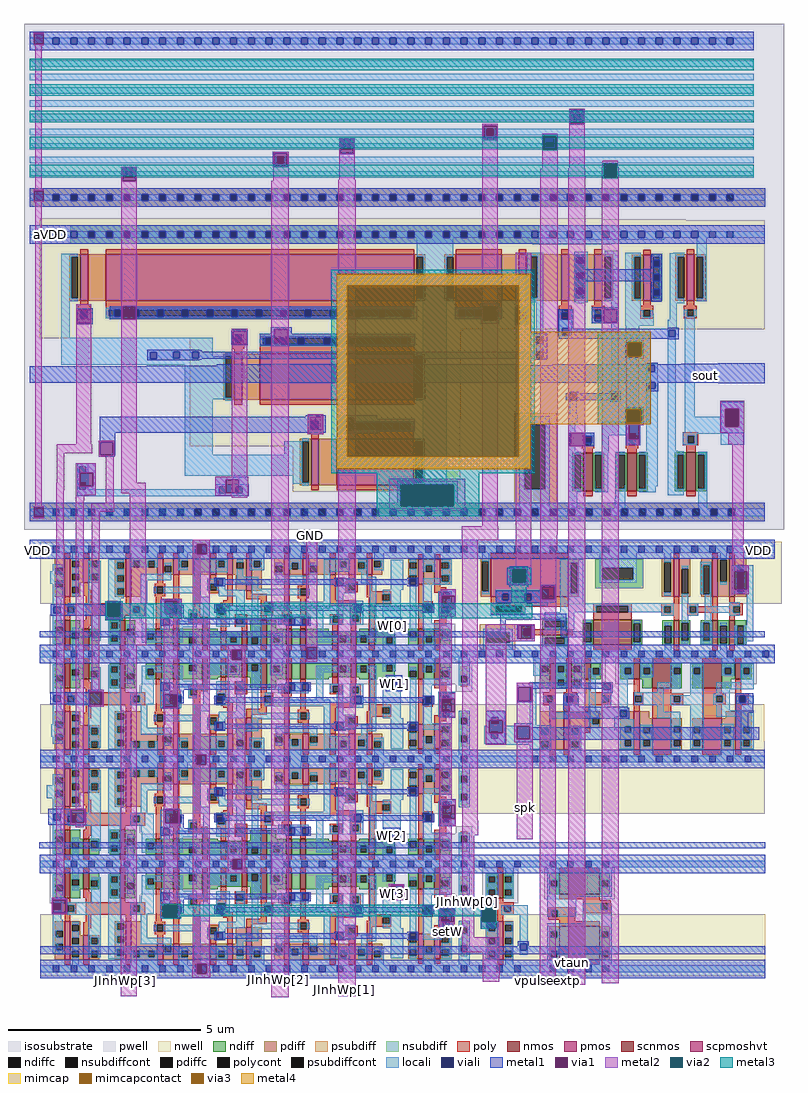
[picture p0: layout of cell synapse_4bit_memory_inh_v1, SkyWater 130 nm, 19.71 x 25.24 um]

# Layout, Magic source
magic
tech sky130A
magscale 1 2
<< isosubstrate >>
rect 2566 9589 6508 12213
<< nwell >>
rect 2648 10582 2826 11204
rect 6163 10629 6408 11194
rect 4832 9204 5600 9527
rect 6362 9205 6408 9526
rect 4841 8683 5561 8684
rect 2772 8519 2795 8581
rect 4841 8489 6313 8683
rect 4841 8117 6407 8489
rect 3461 7334 3513 7339
rect 3485 7287 3513 7291
rect 4841 7274 6411 7595
rect 6138 7272 6411 7274
<< psubdiff >>
rect 2648 11264 2690 11360
rect 6262 11264 6410 11360
rect 2648 9632 2688 9728
rect 6262 9632 6408 9728
<< locali >>
rect 2648 11295 2696 11330
rect 6190 11295 6410 11329
rect 2648 11131 2700 11137
rect 2648 11106 2744 11131
rect 2648 11103 2700 11106
rect 6261 11103 6408 11137
rect 6181 10218 6303 10257
rect 6181 10174 6204 10218
rect 6007 10123 6204 10174
rect 6273 10123 6303 10218
rect 6007 10088 6303 10123
rect 6181 10031 6303 10088
rect 2835 9916 2900 9934
rect 2835 9882 2853 9916
rect 2887 9882 2900 9916
rect 2835 9833 2900 9882
rect 2835 9799 2853 9833
rect 2887 9800 2900 9833
rect 3561 9812 3731 9825
rect 2887 9799 3035 9800
rect 2835 9798 3035 9799
rect 3561 9798 3580 9812
rect 2835 9778 3580 9798
rect 3614 9778 3663 9812
rect 3697 9798 3731 9812
rect 3697 9778 3732 9798
rect 2835 9764 3732 9778
rect 6063 9701 6111 9785
rect 2638 9697 6408 9701
rect 2595 9663 2632 9697
rect 2666 9663 6127 9697
rect 6161 9663 6408 9697
rect 2638 9659 6408 9663
rect 2596 9471 6408 9505
rect 2703 9309 2769 9375
rect 5014 9257 5283 9279
rect 5014 9223 5046 9257
rect 5080 9256 5283 9257
rect 5080 9223 5164 9256
rect 5014 9222 5164 9223
rect 5198 9222 5283 9256
rect 4737 9193 4803 9205
rect 5014 9196 5283 9222
rect 5014 9195 5167 9196
rect 4770 9159 4803 9193
rect 5048 9194 5167 9195
rect 5048 9178 5114 9194
rect 5148 9178 5167 9194
rect 4737 9139 4803 9159
rect 4445 9113 4503 9132
rect 4445 9079 4464 9113
rect 4498 9079 4503 9113
rect 4445 9074 4503 9079
rect 5465 8961 5509 8962
rect 2648 8927 4987 8961
rect 5171 8927 6408 8961
rect 4447 8809 4505 8814
rect 4447 8775 4469 8809
rect 4503 8775 4505 8809
rect 4447 8756 4505 8775
rect 5566 8792 5611 8799
rect 5566 8758 5574 8792
rect 5608 8758 5611 8792
rect 4737 8729 4803 8749
rect 4771 8695 4803 8729
rect 4737 8683 4803 8695
rect 5366 8729 5439 8731
rect 5366 8695 5382 8729
rect 5416 8695 5439 8729
rect 5366 8679 5439 8695
rect 5566 8679 5611 8758
rect 6334 8690 6348 8724
rect 4960 8616 5061 8650
rect 4960 8582 4992 8616
rect 5026 8582 5061 8616
rect 2708 8515 2774 8581
rect 4960 8572 5061 8582
rect 5627 8620 5658 8622
rect 5692 8620 5694 8622
rect 5627 8598 5694 8620
rect 4954 8541 5294 8572
rect 5627 8550 5693 8598
rect 4954 8507 4989 8541
rect 5023 8507 5294 8541
rect 4954 8478 5294 8507
rect 5035 8475 5259 8478
rect 2649 8383 6407 8417
rect 2684 8197 2750 8263
rect 4737 8106 4803 8117
rect 4771 8072 4803 8106
rect 4737 8051 4803 8072
rect 4444 8022 4502 8042
rect 4444 7988 4454 8022
rect 4488 7988 4502 8022
rect 4444 7984 4502 7988
rect 2648 7839 6411 7873
rect 4450 7722 4508 7727
rect 4450 7688 4477 7722
rect 4450 7669 4508 7688
rect 4736 7641 4802 7661
rect 4736 7607 4737 7641
rect 4771 7607 4802 7641
rect 4736 7595 4802 7607
rect 5042 7593 5178 7641
rect 5135 7592 5178 7593
rect 2717 7423 2743 7489
rect 5137 7442 5178 7592
rect 5137 7408 5140 7442
rect 5174 7408 5178 7442
rect 5137 7386 5178 7408
rect 2649 7295 6411 7329
<< viali >>
rect 6204 10123 6273 10218
rect 2853 9882 2887 9916
rect 2853 9799 2887 9833
rect 3580 9778 3614 9812
rect 3663 9778 3697 9812
rect 6127 9663 6161 9697
rect 6265 9348 6299 9382
rect 4739 9232 4773 9266
rect 6265 9268 6299 9302
rect 5046 9223 5080 9257
rect 5164 9222 5198 9256
rect 2720 9155 2754 9189
rect 4736 9159 4770 9193
rect 4464 9079 4498 9113
rect 5162 9041 5196 9075
rect 4469 8775 4503 8809
rect 5574 8758 5608 8792
rect 2720 8698 2754 8732
rect 4737 8695 4771 8729
rect 5382 8695 5416 8729
rect 6275 8694 6309 8728
rect 4739 8621 4773 8655
rect 4992 8582 5026 8616
rect 5658 8620 5692 8654
rect 4989 8507 5023 8541
rect 4739 8145 4773 8179
rect 2721 8083 2755 8117
rect 4737 8072 4771 8106
rect 4454 7988 4488 8022
rect 4477 7688 4511 7722
rect 2720 7619 2754 7653
rect 4737 7607 4771 7641
rect 4967 7602 5001 7636
rect 4739 7533 4773 7567
rect 4970 7526 5004 7560
rect 5140 7408 5174 7442
<< metal1 >>
rect 2610 12108 2616 12160
rect 2668 12108 2674 12160
rect 2648 11348 2688 11360
rect 2610 11296 2616 11348
rect 2668 11296 2688 11348
rect 2648 11264 2688 11296
rect 6262 11264 6410 11360
rect 2648 11072 2712 11169
rect 6257 11072 6408 11168
rect 6166 10451 6408 10452
rect 2648 10352 2711 10438
rect 5974 10351 6408 10451
rect 6166 10350 6408 10351
rect 6179 10218 6303 10254
rect 2958 10093 4080 10176
rect 6179 10123 6204 10218
rect 6273 10123 6303 10218
rect 2958 10052 3040 10093
rect 6179 10090 6303 10123
rect 2955 10043 3040 10052
rect 2955 9975 2962 10043
rect 3030 9975 3040 10043
rect 2955 9974 3040 9975
rect 2955 9968 3037 9974
rect 2841 9916 2938 9934
rect 2841 9882 2853 9916
rect 2887 9884 2938 9916
rect 2841 9833 2856 9882
rect 2841 9799 2853 9833
rect 2924 9816 2938 9884
rect 2887 9799 2938 9816
rect 2841 9768 2938 9799
rect 3559 9849 3728 9863
rect 3559 9812 3612 9849
rect 3680 9825 3728 9849
rect 3680 9812 3731 9825
rect 3559 9778 3580 9812
rect 3614 9778 3663 9781
rect 3697 9778 3731 9812
rect 2841 9766 2900 9768
rect 3559 9766 3731 9778
rect 2648 9712 2688 9728
rect 2599 9706 3437 9712
rect 2599 9654 2616 9706
rect 2668 9654 3437 9706
rect 4023 9654 4094 9713
rect 2626 9651 2688 9654
rect 2648 9632 2688 9651
rect 6272 9632 6408 9728
rect 2649 9513 6408 9536
rect 2649 9461 3462 9513
rect 3514 9461 6408 9513
rect 2649 9440 6408 9461
rect 5085 9302 5178 9401
rect 6237 9382 6325 9406
rect 6237 9373 6265 9382
rect 6299 9373 6325 9382
rect 5247 9297 5326 9304
rect 4727 9266 4805 9280
rect 5247 9274 5252 9297
rect 4727 9247 4739 9266
rect 4773 9247 4805 9266
rect 3276 9222 3384 9230
rect 2989 9207 3071 9215
rect 2989 9203 2997 9207
rect 2705 9189 2997 9203
rect 2705 9155 2720 9189
rect 2754 9155 2997 9189
rect 2705 9142 2997 9155
rect 2989 9139 2997 9142
rect 3065 9139 3071 9207
rect 2989 9131 3071 9139
rect 3276 9154 3295 9222
rect 3363 9154 3384 9222
rect 3276 9124 3384 9154
rect 4727 9179 4732 9247
rect 4800 9179 4805 9247
rect 5014 9257 5252 9274
rect 5014 9223 5046 9257
rect 5080 9256 5252 9257
rect 5080 9223 5164 9256
rect 5015 9222 5164 9223
rect 5198 9229 5252 9256
rect 5320 9229 5326 9297
rect 6237 9278 6249 9373
rect 6318 9278 6325 9373
rect 6237 9268 6265 9278
rect 6299 9268 6325 9278
rect 6237 9254 6325 9268
rect 5198 9223 5326 9229
rect 5198 9222 5325 9223
rect 5015 9211 5325 9222
rect 4727 9159 4736 9179
rect 4770 9159 4805 9179
rect 4727 9139 4805 9159
rect 4437 9113 4529 9136
rect 4437 9079 4464 9113
rect 4498 9079 4529 9113
rect 4437 9062 4529 9079
rect 5037 9123 5379 9153
rect 5037 9062 5066 9123
rect 2647 9032 5066 9062
rect 5123 9025 5130 9093
rect 5198 9025 5216 9093
rect 5350 9062 5379 9123
rect 5350 9032 6408 9062
rect 5123 9023 5216 9025
rect 5123 9021 5205 9023
rect 2648 8980 6408 8992
rect 2648 8968 4029 8980
rect 2648 8916 3643 8968
rect 3695 8921 4029 8968
rect 4088 8921 6408 8980
rect 3695 8916 6408 8921
rect 2648 8896 6408 8916
rect 4443 8809 4529 8834
rect 4443 8775 4469 8809
rect 4503 8775 4529 8809
rect 5566 8795 5620 8799
rect 2898 8749 2980 8758
rect 2898 8746 2905 8749
rect 2702 8732 2905 8746
rect 2702 8698 2720 8732
rect 2754 8698 2905 8732
rect 2702 8683 2905 8698
rect 2898 8681 2905 8683
rect 2973 8681 2980 8749
rect 2898 8671 2980 8681
rect 3285 8736 3371 8753
rect 4443 8751 4529 8775
rect 5122 8792 5620 8795
rect 5122 8771 5574 8792
rect 5122 8764 5129 8771
rect 3285 8668 3293 8736
rect 3361 8668 3371 8736
rect 3285 8661 3371 8668
rect 4723 8729 4804 8744
rect 4723 8713 4737 8729
rect 4771 8713 4804 8729
rect 5123 8727 5129 8764
rect 4723 8645 4734 8713
rect 4802 8645 4804 8713
rect 5124 8703 5129 8727
rect 5197 8767 5574 8771
rect 5197 8764 5339 8767
rect 5467 8764 5574 8767
rect 5197 8727 5206 8764
rect 5562 8758 5574 8764
rect 5608 8758 5620 8792
rect 5562 8742 5620 8758
rect 6263 8740 6348 8741
rect 5368 8734 5438 8739
rect 5363 8729 5439 8734
rect 5197 8703 5202 8727
rect 5124 8695 5202 8703
rect 5362 8695 5382 8729
rect 5416 8695 5443 8729
rect 5362 8672 5443 8695
rect 6259 8728 6348 8740
rect 6259 8694 6275 8728
rect 6309 8694 6348 8728
rect 5362 8667 5694 8672
rect 5362 8654 5706 8667
rect 5362 8652 5658 8654
rect 4723 8621 4739 8645
rect 4773 8621 4804 8645
rect 4723 8615 4804 8621
rect 4960 8616 5061 8650
rect 4960 8601 4992 8616
rect 5026 8601 5061 8616
rect 5366 8620 5658 8652
rect 5692 8620 5706 8654
rect 5366 8609 5706 8620
rect 5653 8608 5706 8609
rect 6259 8641 6348 8694
rect 4960 8533 4980 8601
rect 5048 8533 5061 8601
rect 4960 8507 4989 8533
rect 5023 8507 5061 8533
rect 4960 8479 5061 8507
rect 5109 8571 5204 8585
rect 5109 8503 5121 8571
rect 5189 8565 5204 8571
rect 6259 8565 6322 8641
rect 5189 8503 6380 8565
rect 5109 8500 6380 8503
rect 5109 8486 5204 8500
rect 2649 8423 6408 8448
rect 2649 8371 3460 8423
rect 3512 8371 6408 8423
rect 2649 8352 6408 8371
rect 4867 8351 5231 8352
rect 4725 8179 4806 8191
rect 4725 8159 4739 8179
rect 4773 8159 4806 8179
rect 2806 8142 2885 8143
rect 2692 8137 2885 8142
rect 2692 8117 2811 8137
rect 2692 8083 2721 8117
rect 2755 8083 2811 8117
rect 2692 8069 2811 8083
rect 2879 8069 2885 8137
rect 2692 8061 2885 8069
rect 3288 8134 3374 8142
rect 3288 8066 3298 8134
rect 3366 8066 3374 8134
rect 3288 8065 3374 8066
rect 4725 8091 4735 8159
rect 4803 8091 4806 8159
rect 4725 8072 4737 8091
rect 4771 8072 4806 8091
rect 2692 8060 2884 8061
rect 3288 8047 3346 8065
rect 4725 8050 4806 8072
rect 3276 8037 3346 8047
rect 3276 8036 3336 8037
rect 4430 8022 4517 8044
rect 4430 7988 4454 8022
rect 4488 7988 4517 8022
rect 4430 7967 4517 7988
rect 2644 7937 6412 7967
rect 2648 7903 6408 7904
rect 2648 7881 6411 7903
rect 2648 7829 3646 7881
rect 3698 7829 6411 7881
rect 2648 7808 6411 7829
rect 5128 7807 6411 7808
rect 4457 7743 4539 7750
rect 2711 7679 2781 7680
rect 2711 7671 2790 7679
rect 2711 7603 2716 7671
rect 2784 7603 2790 7671
rect 2711 7594 2790 7603
rect 3282 7651 3340 7685
rect 4457 7675 4466 7743
rect 4534 7675 4539 7743
rect 4457 7668 4539 7675
rect 4726 7655 4793 7660
rect 3282 7645 3375 7651
rect 3282 7577 3292 7645
rect 3360 7577 3375 7645
rect 3282 7572 3375 7577
rect 4726 7641 4801 7655
rect 4726 7625 4737 7641
rect 4771 7625 4801 7641
rect 4726 7572 4730 7625
rect 4719 7557 4730 7572
rect 4798 7557 4801 7625
rect 4719 7533 4739 7557
rect 4773 7542 4801 7557
rect 4936 7636 5016 7651
rect 4936 7625 4967 7636
rect 5001 7625 5016 7636
rect 4936 7557 4942 7625
rect 5010 7557 5016 7625
rect 4773 7533 4793 7542
rect 4719 7523 4785 7533
rect 4936 7526 4970 7557
rect 5004 7526 5016 7557
rect 4936 7520 5016 7526
rect 4955 7519 5016 7520
rect 5127 7442 5183 7455
rect 5127 7429 5140 7442
rect 2649 7408 5140 7429
rect 5174 7429 5183 7442
rect 5174 7408 6411 7429
rect 2649 7388 6411 7408
rect 2649 7359 3461 7360
rect 3489 7359 6411 7360
rect 2649 7339 6411 7359
rect 2649 7287 3461 7339
rect 3513 7287 6411 7339
rect 2649 7264 6411 7287
<< via1 >>
rect 2616 12108 2668 12160
rect 2616 11296 2668 11348
rect 6204 10123 6273 10218
rect 2962 9975 3030 10043
rect 2856 9882 2887 9884
rect 2887 9882 2924 9884
rect 2856 9833 2924 9882
rect 2856 9816 2887 9833
rect 2887 9816 2924 9833
rect 3612 9812 3680 9849
rect 3612 9781 3614 9812
rect 3614 9781 3663 9812
rect 3663 9781 3680 9812
rect 2616 9654 2668 9706
rect 3462 9461 3514 9513
rect 2997 9139 3065 9207
rect 3295 9154 3363 9222
rect 4732 9232 4739 9247
rect 4739 9232 4773 9247
rect 4773 9232 4800 9247
rect 4732 9193 4800 9232
rect 4732 9179 4736 9193
rect 4736 9179 4770 9193
rect 4770 9179 4800 9193
rect 5252 9229 5320 9297
rect 6249 9348 6265 9373
rect 6265 9348 6299 9373
rect 6299 9348 6318 9373
rect 6249 9302 6318 9348
rect 6249 9278 6265 9302
rect 6265 9278 6299 9302
rect 6299 9278 6318 9302
rect 5130 9075 5198 9093
rect 5130 9041 5162 9075
rect 5162 9041 5196 9075
rect 5196 9041 5198 9075
rect 5130 9025 5198 9041
rect 3643 8916 3695 8968
rect 4029 8921 4088 8980
rect 2905 8681 2973 8749
rect 3293 8668 3361 8736
rect 4734 8695 4737 8713
rect 4737 8695 4771 8713
rect 4771 8695 4802 8713
rect 4734 8655 4802 8695
rect 4734 8645 4739 8655
rect 4739 8645 4773 8655
rect 4773 8645 4802 8655
rect 5129 8703 5197 8771
rect 4980 8582 4992 8601
rect 4992 8582 5026 8601
rect 5026 8582 5048 8601
rect 4980 8541 5048 8582
rect 4980 8533 4989 8541
rect 4989 8533 5023 8541
rect 5023 8533 5048 8541
rect 5121 8503 5189 8571
rect 3460 8371 3512 8423
rect 2811 8069 2879 8137
rect 3298 8066 3366 8134
rect 4735 8145 4739 8159
rect 4739 8145 4773 8159
rect 4773 8145 4803 8159
rect 4735 8106 4803 8145
rect 4735 8091 4737 8106
rect 4737 8091 4771 8106
rect 4771 8091 4803 8106
rect 3646 7829 3698 7881
rect 2716 7653 2784 7671
rect 2716 7619 2720 7653
rect 2720 7619 2754 7653
rect 2754 7619 2784 7653
rect 2716 7603 2784 7619
rect 4466 7722 4534 7743
rect 4466 7688 4477 7722
rect 4477 7688 4511 7722
rect 4511 7688 4534 7722
rect 4466 7675 4534 7688
rect 3292 7577 3360 7645
rect 4730 7607 4737 7625
rect 4737 7607 4771 7625
rect 4771 7607 4798 7625
rect 4730 7567 4798 7607
rect 4730 7557 4739 7567
rect 4739 7557 4773 7567
rect 4773 7557 4798 7567
rect 4942 7602 4967 7625
rect 4967 7602 5001 7625
rect 5001 7602 5010 7625
rect 4942 7560 5010 7602
rect 4942 7557 4970 7560
rect 4970 7557 5004 7560
rect 5004 7557 5010 7560
rect 3461 7287 3513 7339
<< metal2 >>
rect 2616 12160 2668 12166
rect 2616 12102 2668 12108
rect 2625 11354 2659 12102
rect 2616 11348 2668 11354
rect 2616 11290 2668 11296
rect 2625 9712 2659 11290
rect 2955 10043 3037 10052
rect 2738 10030 2921 10032
rect 2735 9986 2921 10030
rect 2735 9832 2775 9986
rect 2955 9975 2962 10043
rect 3030 9975 3037 10043
rect 2955 9968 3037 9975
rect 2734 9795 2775 9832
rect 2835 9884 2938 9934
rect 2989 9904 3032 9968
rect 2835 9816 2856 9884
rect 2924 9816 2938 9884
rect 2616 9706 2668 9712
rect 2616 9648 2668 9654
rect 2734 9515 2773 9795
rect 2835 9768 2938 9816
rect 2835 9739 2878 9768
rect 2835 9620 2875 9739
rect 2991 9727 3032 9904
rect 3559 9849 3728 9863
rect 3070 9779 3198 9834
rect 2916 9682 3034 9727
rect 2734 7680 2774 9515
rect 2835 9440 2876 9620
rect 2917 9481 2958 9682
rect 2835 8143 2875 9440
rect 2917 8758 2957 9481
rect 3114 9410 3198 9779
rect 3559 9781 3612 9849
rect 3680 9781 3728 9849
rect 3559 9766 3728 9781
rect 3440 9513 3530 9536
rect 3440 9461 3462 9513
rect 3514 9461 3530 9513
rect 3114 9385 3199 9410
rect 3000 9219 3049 9220
rect 2987 9208 3077 9219
rect 2987 9207 2998 9208
rect 2987 9139 2997 9207
rect 3066 9140 3077 9208
rect 3065 9139 3077 9140
rect 2987 9126 3077 9139
rect 3115 9059 3199 9385
rect 3276 9222 3384 9230
rect 3276 9154 3295 9222
rect 3363 9154 3384 9222
rect 3276 9124 3384 9154
rect 3069 8990 3199 9059
rect 2904 8749 2980 8758
rect 2904 8681 2905 8749
rect 2973 8681 2980 8749
rect 2904 8671 2980 8681
rect 2806 8137 2885 8143
rect 2806 8069 2811 8137
rect 2879 8069 2885 8137
rect 2806 8061 2885 8069
rect 2806 8060 2884 8061
rect 2835 8047 2875 8060
rect 2711 7679 2781 7680
rect 2711 7671 2790 7679
rect 2711 7603 2716 7671
rect 2784 7603 2790 7671
rect 2711 7594 2790 7603
rect 3069 7169 3151 8990
rect 3290 8736 3363 9124
rect 3290 8668 3293 8736
rect 3361 8668 3363 8736
rect 3290 8141 3363 8668
rect 3440 8423 3530 9461
rect 3440 8371 3460 8423
rect 3512 8371 3530 8423
rect 3288 8134 3374 8141
rect 3288 8066 3298 8134
rect 3366 8066 3374 8134
rect 3288 8055 3374 8066
rect 3290 7651 3363 8055
rect 3282 7645 3375 7651
rect 3282 7577 3292 7645
rect 3360 7577 3375 7645
rect 3282 7572 3375 7577
rect 3440 7339 3530 8371
rect 3623 8968 3714 8990
rect 3623 8916 3643 8968
rect 3695 8916 3714 8968
rect 3623 7881 3714 8916
rect 3623 7829 3646 7881
rect 3698 7829 3714 7881
rect 3623 7808 3714 7829
rect 3440 7310 3461 7339
rect 3439 7287 3461 7310
rect 3513 7310 3530 7339
rect 3513 7287 3532 7310
rect 3439 7265 3532 7287
rect 3849 7165 3938 11400
rect 4029 8980 4088 9585
rect 4029 8905 4088 8921
rect 4197 7169 4286 11404
rect 4836 9534 5025 9608
rect 4727 9268 4805 9280
rect 4719 9247 4805 9268
rect 4719 9179 4732 9247
rect 4800 9179 4805 9247
rect 4719 9139 4805 9179
rect 4719 8742 4785 9139
rect 4719 8713 4804 8742
rect 4719 8645 4734 8713
rect 4802 8645 4804 8713
rect 4719 8617 4804 8645
rect 4719 8188 4785 8617
rect 4719 8159 4806 8188
rect 4719 8091 4735 8159
rect 4803 8091 4806 8159
rect 4719 8052 4806 8091
rect 4838 8080 4920 9534
rect 5117 9392 5197 9577
rect 5245 9481 5331 11461
rect 5244 9480 5331 9481
rect 5073 9385 5198 9392
rect 5073 9317 5100 9385
rect 5168 9317 5198 9385
rect 5073 9303 5198 9317
rect 5244 9297 5326 9480
rect 5244 9279 5252 9297
rect 5243 9229 5252 9279
rect 5320 9229 5326 9297
rect 5243 9142 5326 9229
rect 4974 9097 5214 9100
rect 4961 9093 5214 9097
rect 4961 9025 5130 9093
rect 5198 9025 5214 9093
rect 4961 9011 5214 9025
rect 4961 8601 5068 9011
rect 5243 8816 5325 9142
rect 4961 8533 4980 8601
rect 5048 8533 5068 8601
rect 5123 8771 5205 8795
rect 5123 8703 5129 8771
rect 5197 8703 5205 8771
rect 5123 8585 5205 8703
rect 4961 8475 5068 8533
rect 5109 8571 5205 8585
rect 5109 8503 5121 8571
rect 5189 8503 5205 8571
rect 5109 8486 5205 8503
rect 4457 7743 4539 7750
rect 4457 7733 4466 7743
rect 4450 7681 4466 7733
rect 4457 7675 4466 7681
rect 4534 7675 4539 7743
rect 4457 7668 4539 7675
rect 4719 7655 4785 8052
rect 4838 8005 4921 8080
rect 4839 8004 4921 8005
rect 4719 7625 4801 7655
rect 4719 7557 4730 7625
rect 4798 7557 4801 7625
rect 4719 7542 4801 7557
rect 4719 7491 4785 7542
rect 4839 7475 4901 8004
rect 5123 7985 5205 8486
rect 5240 8538 5325 8816
rect 5240 8179 5324 8538
rect 5240 7874 5325 8179
rect 4937 7625 5016 7651
rect 4937 7557 4942 7625
rect 5010 7557 5016 7625
rect 4937 7520 5016 7557
rect 4839 7399 5032 7475
rect 4946 7328 5032 7399
rect 4946 7279 5033 7328
rect 4946 7244 5032 7279
rect 5241 7237 5325 7874
rect 5388 7228 5477 11463
rect 5562 7238 5651 11473
rect 6178 10218 6302 10257
rect 6178 10123 6204 10218
rect 6273 10123 6302 10218
rect 6178 10093 6302 10123
rect 6219 10033 6300 10093
rect 6239 9406 6298 10033
rect 6237 9373 6325 9406
rect 6237 9278 6249 9373
rect 6318 9278 6325 9373
rect 6237 9254 6325 9278
<< via2 >>
rect 2998 9207 3066 9208
rect 2998 9140 3065 9207
rect 3065 9140 3066 9207
rect 3292 7577 3360 7645
rect 5100 9317 5168 9385
rect 4942 7557 5010 7625
<< metal3 >>
rect 5083 9392 5182 9397
rect 5073 9385 5198 9392
rect 5073 9317 5100 9385
rect 5168 9317 5198 9385
rect 5073 9303 5198 9317
rect 5083 9294 5182 9303
rect 2988 9208 3078 9219
rect 5092 9208 5172 9294
rect 2988 9140 2998 9208
rect 3066 9140 5201 9208
rect 2988 9131 5201 9140
rect 2988 9120 3078 9131
rect 3284 7648 3377 7650
rect 3284 7645 3380 7648
rect 4936 7645 5016 7651
rect 3284 7577 3292 7645
rect 3360 7625 5016 7645
rect 3360 7584 4942 7625
rect 3360 7577 3380 7584
rect 3284 7574 3380 7577
rect 3287 7572 3380 7574
rect 4936 7557 4942 7584
rect 5010 7557 5016 7625
rect 4936 7520 5016 7557
use dpi_syn_inh_4bit_fc_v2  dpi_syn_inh_4bit_fc_v2_0
transform 1 0 -2435 0 1 7141
box 5031 2299 8787 5032
use sky130_fd_sc_hd__clkdlybuf4s50_1  sky130_fd_sc_hd__clkdlybuf4s50_1_0 $PDKPATH/libs.ref/sky130_fd_sc_hd/mag
transform -1 0 6367 0 -1 8944
box -38 -48 774 592
use sky130_fd_sc_hd__decap_4  sky130_fd_sc_hd__decap_4_0 $PDKPATH/libs.ref/sky130_fd_sc_hd/mag
transform 1 0 5263 0 -1 7856
box -38 -48 406 592
use sky130_fd_sc_hd__dfrbp_1  sky130_fd_sc_hd__dfrbp_1_0 $PDKPATH/libs.ref/sky130_fd_sc_hd/mag
transform -1 0 4803 0 1 8944
box -38 -48 2154 592
use sky130_fd_sc_hd__dfrbp_1  sky130_fd_sc_hd__dfrbp_1_1
transform -1 0 4803 0 -1 8944
box -38 -48 2154 592
use sky130_fd_sc_hd__dfrbp_1  sky130_fd_sc_hd__dfrbp_1_2
transform -1 0 4803 0 1 7856
box -38 -48 2154 592
use sky130_fd_sc_hd__dfrbp_1  sky130_fd_sc_hd__dfrbp_1_3
transform -1 0 4803 0 -1 7856
box -38 -48 2154 592
use sky130_fd_sc_hd__fill_1  sky130_fd_sc_hd__fill_1_0 $PDKPATH/libs.ref/sky130_fd_sc_hd/mag
transform 1 0 6367 0 1 8944
box -38 -48 130 592
use sky130_fd_sc_hd__inv_1  sky130_fd_sc_hd__inv_1_5 $PDKPATH/libs.ref/sky130_fd_sc_hd/mag
transform -1 0 5171 0 -1 7856
box -38 -48 314 592
use sky130_fd_sc_hd__nor2b_1  sky130_fd_sc_hd__nor2b_1_0 $PDKPATH/libs.ref/sky130_fd_sc_hd/mag
transform -1 0 5631 0 -1 8944
box -38 -48 498 592
use sky130_fd_sc_hd__tapvpwrvgnd_1  sky130_fd_sc_hd__tapvpwrvgnd_1_24 $PDKPATH/libs.ref/sky130_fd_sc_hd/mag
transform 1 0 4803 0 -1 8944
box -38 -48 130 592
use sky130_fd_sc_hd__tapvpwrvgnd_1  sky130_fd_sc_hd__tapvpwrvgnd_1_27
transform 1 0 4803 0 -1 7856
box -38 -48 130 592
use sky130_fd_sc_hd__tapvpwrvgnd_1  sky130_fd_sc_hd__tapvpwrvgnd_1_28
transform 1 0 4803 0 1 7856
box -38 -48 130 592
use spike_extender  spike_extender_0
transform 1 0 4895 0 1 8944
box -38 -48 1510 592
<< labels >>
flabel metal2 5277 7244 5286 7256 1 FreeSans 320 0 0 0 vpulseextp
port 3 n
flabel metal2 5405 7337 5412 7355 1 FreeSans 320 0 0 0 vtaun
port 6 n
flabel metal1 6085 10380 6121 10400 1 FreeSans 320 0 0 0 sout
port 18 n
flabel metal2 5590 7413 5592 7416 1 FreeSans 320 0 0 0 vthrdp
port 21 n
flabel locali 2699 11113 2708 11125 1 FreeSans 320 0 0 0 aVDD
port 22 n
flabel metal2 4856 7655 4878 7672 1 FreeSans 320 0 0 0 JInhWp[0]
port 23 n
flabel metal2 4224 7199 4229 7208 1 FreeSans 320 0 0 0 JInhWp[1]
port 28 n
flabel metal2 3883 7251 3886 7258 1 FreeSans 320 0 0 0 JInhWp[2]
port 29 n
flabel metal2 3093 7248 3096 7254 1 FreeSans 320 0 0 0 JInhWp[3]
port 30 n
flabel metal2 4759 7501 4765 7510 1 FreeSans 320 0 0 0 setW
port 32 n
flabel locali 5073 7615 5076 7619 1 FreeSans 320 0 0 0 resetW
port 33 n
flabel metal2 4488 7697 4490 7707 1 FreeSans 320 0 0 0 W[3]
port 34 n
flabel viali 4481 8785 4495 8797 1 FreeSans 320 0 0 0 W[1]
port 35 n
flabel viali 4475 9089 4476 9093 1 FreeSans 320 0 0 0 W[0]
port 36 n
flabel viali 4466 7996 4474 8009 1 FreeSans 320 0 0 0 W[2]
port 37 n
flabel metal1 6375 9482 6375 9482 1 FreeSans 320 0 0 0 VDD
port 39 n
flabel locali 2635 9479 2638 9483 1 FreeSans 320 0 0 0 VDD
port 39 n
flabel metal2 5159 8134 5174 8162 1 FreeSans 320 0 0 0 spk
port 41 n
flabel metal2 4047 9555 4062 9568 1 FreeSans 320 0 0 0 GND
port 42 n
<< end >>

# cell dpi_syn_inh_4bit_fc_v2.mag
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
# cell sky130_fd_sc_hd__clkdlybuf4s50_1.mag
magic
tech sky130A
magscale 1 2
<< nwell >>
rect -38 261 774 582
<< pwell >>
rect 107 157 619 203
rect 1 21 735 157
rect 30 -17 64 21
<< scnmos >>
rect 81 47 111 131
rect 183 47 283 177
rect 443 47 543 177
rect 608 47 638 131
<< scpmoshvt >>
rect 81 297 111 497
rect 183 333 283 497
rect 443 333 543 497
rect 608 297 638 497
<< ndiff >>
rect 133 131 183 177
rect 27 104 81 131
rect 27 70 36 104
rect 70 70 81 104
rect 27 47 81 70
rect 111 104 183 131
rect 111 70 133 104
rect 167 70 183 104
rect 111 47 183 70
rect 283 104 335 177
rect 283 70 293 104
rect 327 70 335 104
rect 283 47 335 70
rect 390 104 443 177
rect 390 70 398 104
rect 432 70 443 104
rect 390 47 443 70
rect 543 131 593 177
rect 543 104 608 131
rect 543 70 554 104
rect 588 70 608 104
rect 543 47 608 70
rect 638 104 709 131
rect 638 70 652 104
rect 686 70 709 104
rect 638 47 709 70
<< pdiff >>
rect 27 478 81 497
rect 27 444 36 478
rect 70 444 81 478
rect 27 410 81 444
rect 27 376 36 410
rect 70 376 81 410
rect 27 297 81 376
rect 111 478 183 497
rect 111 444 136 478
rect 170 444 183 478
rect 111 410 183 444
rect 111 376 136 410
rect 170 376 183 410
rect 111 333 183 376
rect 283 478 336 497
rect 283 444 294 478
rect 328 444 336 478
rect 283 410 336 444
rect 283 376 294 410
rect 328 376 336 410
rect 283 333 336 376
rect 390 477 443 497
rect 390 443 398 477
rect 432 443 443 477
rect 390 409 443 443
rect 390 375 398 409
rect 432 375 443 409
rect 390 333 443 375
rect 543 478 608 497
rect 543 444 554 478
rect 588 444 608 478
rect 543 410 608 444
rect 543 376 554 410
rect 588 376 608 410
rect 543 333 608 376
rect 111 297 161 333
rect 558 297 608 333
rect 638 477 709 497
rect 638 443 652 477
rect 686 443 709 477
rect 638 409 709 443
rect 638 375 652 409
rect 686 375 709 409
rect 638 297 709 375
<< ndiffc >>
rect 36 70 70 104
rect 133 70 167 104
rect 293 70 327 104
rect 398 70 432 104
rect 554 70 588 104
rect 652 70 686 104
<< pdiffc >>
rect 36 444 70 478
rect 36 376 70 410
rect 136 444 170 478
rect 136 376 170 410
rect 294 444 328 478
rect 294 376 328 410
rect 398 443 432 477
rect 398 375 432 409
rect 554 444 588 478
rect 554 376 588 410
rect 652 443 686 477
rect 652 375 686 409
<< poly >>
rect 81 497 111 523
rect 183 497 283 523
rect 443 497 543 523
rect 608 497 638 523
rect 81 262 111 297
rect 41 249 111 262
rect 183 259 283 333
rect 443 259 543 333
rect 608 265 638 297
rect 41 215 57 249
rect 91 215 111 249
rect 41 203 111 215
rect 161 249 283 259
rect 161 215 177 249
rect 211 215 283 249
rect 161 205 283 215
rect 382 249 543 259
rect 382 215 398 249
rect 432 215 543 249
rect 382 205 543 215
rect 81 131 111 203
rect 183 177 283 205
rect 443 177 543 205
rect 588 249 642 265
rect 588 215 598 249
rect 632 215 642 249
rect 588 199 642 215
rect 608 131 638 199
rect 81 21 111 47
rect 183 21 283 47
rect 443 21 543 47
rect 608 21 638 47
<< polycont >>
rect 57 215 91 249
rect 177 215 211 249
rect 398 215 432 249
rect 598 215 632 249
<< locali >>
rect 0 527 29 561
rect 63 527 121 561
rect 155 527 213 561
rect 247 527 305 561
rect 339 527 397 561
rect 431 527 489 561
rect 523 527 581 561
rect 615 527 673 561
rect 707 527 736 561
rect 17 478 86 493
rect 17 444 36 478
rect 70 444 86 478
rect 17 410 86 444
rect 17 376 36 410
rect 70 376 86 410
rect 17 326 86 376
rect 120 478 186 527
rect 120 444 136 478
rect 170 444 186 478
rect 120 410 186 444
rect 120 376 136 410
rect 170 376 186 410
rect 120 360 186 376
rect 276 478 346 493
rect 276 444 294 478
rect 328 444 346 478
rect 276 410 346 444
rect 276 376 294 410
rect 328 376 346 410
rect 17 292 211 326
rect 141 263 211 292
rect 276 264 346 376
rect 398 477 448 493
rect 432 443 448 477
rect 398 409 448 443
rect 432 375 448 409
rect 398 333 448 375
rect 538 478 604 527
rect 538 444 554 478
rect 588 444 604 478
rect 538 410 604 444
rect 538 376 554 410
rect 588 376 604 410
rect 538 367 604 376
rect 638 477 719 493
rect 638 443 652 477
rect 686 443 719 477
rect 638 409 719 443
rect 638 375 652 409
rect 686 375 719 409
rect 638 338 719 375
rect 398 299 516 333
rect 482 265 516 299
rect 17 249 107 258
rect 17 215 57 249
rect 91 215 107 249
rect 141 249 227 263
rect 141 215 177 249
rect 211 215 227 249
rect 141 205 227 215
rect 276 249 448 264
rect 276 215 398 249
rect 432 215 448 249
rect 276 214 448 215
rect 482 249 635 265
rect 482 215 598 249
rect 632 215 635 249
rect 141 181 211 205
rect 17 147 211 181
rect 17 104 83 147
rect 17 70 36 104
rect 70 70 83 104
rect 17 51 83 70
rect 117 104 183 113
rect 117 70 133 104
rect 167 70 183 104
rect 117 17 183 70
rect 276 104 346 214
rect 482 199 635 215
rect 482 180 516 199
rect 276 70 293 104
rect 327 70 346 104
rect 276 51 346 70
rect 398 146 516 180
rect 398 104 448 146
rect 669 128 719 338
rect 432 70 448 104
rect 398 51 448 70
rect 538 104 604 120
rect 538 70 554 104
rect 588 70 604 104
rect 538 17 604 70
rect 638 104 719 128
rect 638 70 652 104
rect 686 70 719 104
rect 638 51 719 70
rect 0 -17 29 17
rect 63 -17 121 17
rect 155 -17 213 17
rect 247 -17 305 17
rect 339 -17 397 17
rect 431 -17 489 17
rect 523 -17 581 17
rect 615 -17 673 17
rect 707 -17 736 17
<< viali >>
rect 29 527 63 561
rect 121 527 155 561
rect 213 527 247 561
rect 305 527 339 561
rect 397 527 431 561
rect 489 527 523 561
rect 581 527 615 561
rect 673 527 707 561
rect 29 -17 63 17
rect 121 -17 155 17
rect 213 -17 247 17
rect 305 -17 339 17
rect 397 -17 431 17
rect 489 -17 523 17
rect 581 -17 615 17
rect 673 -17 707 17
<< metal1 >>
rect 0 561 736 592
rect 0 527 29 561
rect 63 527 121 561
rect 155 527 213 561
rect 247 527 305 561
rect 339 527 397 561
rect 431 527 489 561
rect 523 527 581 561
rect 615 527 673 561
rect 707 527 736 561
rect 0 496 736 527
rect 0 17 736 48
rect 0 -17 29 17
rect 63 -17 121 17
rect 155 -17 213 17
rect 247 -17 305 17
rect 339 -17 397 17
rect 431 -17 489 17
rect 523 -17 581 17
rect 615 -17 673 17
rect 707 -17 736 17
rect 0 -48 736 -17
<< labels >>
flabel locali s 30 221 64 255 0 FreeSans 400 0 0 0 A
port 6 nsew
flabel locali s 676 425 710 459 0 FreeSans 400 0 0 0 X
port 7 nsew
flabel locali s 676 357 710 391 0 FreeSans 400 0 0 0 X
port 7 nsew
flabel locali s 676 289 710 323 0 FreeSans 400 0 0 0 X
port 7 nsew
flabel locali s 676 221 710 255 0 FreeSans 400 0 0 0 X
port 7 nsew
flabel locali s 676 153 710 187 0 FreeSans 400 0 0 0 X
port 7 nsew
flabel locali s 676 85 710 119 0 FreeSans 400 0 0 0 X
port 7 nsew
flabel pwell s 30 -17 64 17 0 FreeSans 200 0 0 0 VNB
port 2 nsew
flabel nwell s 30 527 64 561 0 FreeSans 200 0 0 0 VPB
port 3 nsew
flabel metal1 s 30 -17 64 17 0 FreeSans 200 0 0 0 VGND
port 4 nsew
flabel metal1 s 30 527 64 561 0 FreeSans 200 0 0 0 VPWR
port 5 nsew
rlabel comment s 0 0 0 0 4 clkdlybuf4s50_1
<< properties >>
string FIXED_BBOX 0 0 736 544
string path 0.000 0.000 3.680 0.000 
<< end >>

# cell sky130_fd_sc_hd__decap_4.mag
magic
tech sky130A
magscale 1 2
<< nwell >>
rect -38 261 406 582
<< pwell >>
rect 1 21 367 183
rect 29 -17 63 21
<< scnmos >>
rect 79 47 289 157
<< scpmoshvt >>
rect 79 323 289 497
<< ndiff >>
rect 27 119 79 157
rect 27 85 35 119
rect 69 85 79 119
rect 27 47 79 85
rect 289 119 341 157
rect 289 85 299 119
rect 333 85 341 119
rect 289 47 341 85
<< pdiff >>
rect 27 485 79 497
rect 27 451 35 485
rect 69 451 79 485
rect 27 383 79 451
rect 27 349 35 383
rect 69 349 79 383
rect 27 323 79 349
rect 289 485 341 497
rect 289 451 299 485
rect 333 451 341 485
rect 289 383 341 451
rect 289 349 299 383
rect 333 349 341 383
rect 289 323 341 349
<< ndiffc >>
rect 35 85 69 119
rect 299 85 333 119
<< pdiffc >>
rect 35 451 69 485
rect 35 349 69 383
rect 299 451 333 485
rect 299 349 333 383
<< poly >>
rect 79 497 289 523
rect 79 297 289 323
rect 79 291 163 297
rect 21 275 163 291
rect 21 241 37 275
rect 71 241 163 275
rect 21 225 163 241
rect 205 239 347 255
rect 205 205 297 239
rect 331 205 347 239
rect 205 189 347 205
rect 205 183 289 189
rect 79 157 289 183
rect 79 21 289 47
<< polycont >>
rect 37 241 71 275
rect 297 205 331 239
<< locali >>
rect 0 527 29 561
rect 63 527 121 561
rect 155 527 213 561
rect 247 527 305 561
rect 339 527 368 561
rect 17 485 351 527
rect 17 451 35 485
rect 69 451 299 485
rect 333 451 351 485
rect 17 383 351 451
rect 17 349 35 383
rect 69 349 299 383
rect 333 349 351 383
rect 17 309 351 349
rect 17 241 37 275
rect 71 241 167 275
rect 17 171 167 241
rect 201 239 351 309
rect 201 205 297 239
rect 331 205 351 239
rect 17 119 351 171
rect 17 85 35 119
rect 69 85 299 119
rect 333 85 351 119
rect 17 17 351 85
rect 0 -17 29 17
rect 63 -17 121 17
rect 155 -17 213 17
rect 247 -17 305 17
rect 339 -17 368 17
<< viali >>
rect 29 527 63 561
rect 121 527 155 561
rect 213 527 247 561
rect 305 527 339 561
rect 29 -17 63 17
rect 121 -17 155 17
rect 213 -17 247 17
rect 305 -17 339 17
<< metal1 >>
rect 0 561 368 592
rect 0 527 29 561
rect 63 527 121 561
rect 155 527 213 561
rect 247 527 305 561
rect 339 527 368 561
rect 0 496 368 527
rect 0 17 368 48
rect 0 -17 29 17
rect 63 -17 121 17
rect 155 -17 213 17
rect 247 -17 305 17
rect 339 -17 368 17
rect 0 -48 368 -17
<< labels >>
flabel metal1 s 29 -17 63 17 0 FreeSans 200 0 0 0 VGND
port 2 nsew
flabel metal1 s 29 527 63 561 0 FreeSans 200 0 0 0 VPWR
port 3 nsew
flabel nwell s 29 527 63 561 0 FreeSans 200 0 0 0 VPB
port 4 nsew
flabel pwell s 29 -17 63 17 0 FreeSans 200 0 0 0 VNB
port 5 nsew
rlabel comment s 0 0 0 0 4 decap_4
<< properties >>
string FIXED_BBOX 0 0 368 544
string path 0.000 0.000 1.840 0.000 
<< end >>

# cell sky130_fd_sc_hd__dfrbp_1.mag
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
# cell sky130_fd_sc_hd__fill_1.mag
magic
tech sky130A
magscale 1 2
<< nwell >>
rect -38 261 130 582
<< pwell >>
rect 28 -11 52 11
<< locali >>
rect 0 527 29 561
rect 63 527 92 561
rect 0 -17 29 17
rect 63 -17 92 17
<< viali >>
rect 29 527 63 561
rect 29 -17 63 17
<< metal1 >>
rect 0 561 92 592
rect 0 527 29 561
rect 63 527 92 561
rect 0 496 92 527
rect 0 17 92 48
rect 0 -17 29 17
rect 63 -17 92 17
rect 0 -48 92 -17
<< labels >>
flabel metal1 s 22 527 58 557 0 FreeSans 250 0 0 0 VPWR
port 2 nsew
flabel metal1 s 22 -13 58 16 0 FreeSans 250 0 0 0 VGND
port 3 nsew
flabel nwell s 31 534 51 551 0 FreeSans 200 0 0 0 VPB
port 4 nsew
flabel pwell s 28 -11 52 11 0 FreeSans 200 0 0 0 VNB
port 5 nsew
rlabel comment s 0 0 0 0 4 fill_1
<< properties >>
string FIXED_BBOX 0 0 92 544
string path 0.000 0.000 0.460 0.000 
<< end >>

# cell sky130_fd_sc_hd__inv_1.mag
magic
tech sky130A
magscale 1 2
<< nwell >>
rect -38 261 314 582
<< pwell >>
rect 42 21 228 203
rect 42 17 63 21
rect 29 -17 63 17
<< scnmos >>
rect 120 47 150 177
<< scpmoshvt >>
rect 120 297 150 497
<< ndiff >>
rect 68 165 120 177
rect 68 131 76 165
rect 110 131 120 165
rect 68 97 120 131
rect 68 63 76 97
rect 110 63 120 97
rect 68 47 120 63
rect 150 165 202 177
rect 150 131 160 165
rect 194 131 202 165
rect 150 97 202 131
rect 150 63 160 97
rect 194 63 202 97
rect 150 47 202 63
<< pdiff >>
rect 68 485 120 497
rect 68 451 76 485
rect 110 451 120 485
rect 68 417 120 451
rect 68 383 76 417
rect 110 383 120 417
rect 68 349 120 383
rect 68 315 76 349
rect 110 315 120 349
rect 68 297 120 315
rect 150 485 202 497
rect 150 451 160 485
rect 194 451 202 485
rect 150 417 202 451
rect 150 383 160 417
rect 194 383 202 417
rect 150 349 202 383
rect 150 315 160 349
rect 194 315 202 349
rect 150 297 202 315
<< ndiffc >>
rect 76 131 110 165
rect 76 63 110 97
rect 160 131 194 165
rect 160 63 194 97
<< pdiffc >>
rect 76 451 110 485
rect 76 383 110 417
rect 76 315 110 349
rect 160 451 194 485
rect 160 383 194 417
rect 160 315 194 349
<< poly >>
rect 120 497 150 523
rect 120 265 150 297
rect 64 249 150 265
rect 64 215 80 249
rect 114 215 150 249
rect 64 199 150 215
rect 120 177 150 199
rect 120 21 150 47
<< polycont >>
rect 80 215 114 249
<< locali >>
rect 0 527 29 561
rect 63 527 121 561
rect 155 527 213 561
rect 247 527 276 561
rect 68 485 110 527
rect 68 451 76 485
rect 68 417 110 451
rect 68 383 76 417
rect 68 349 110 383
rect 68 315 76 349
rect 68 299 110 315
rect 144 485 210 493
rect 144 451 160 485
rect 194 451 210 485
rect 144 417 210 451
rect 144 383 160 417
rect 194 383 210 417
rect 144 349 210 383
rect 144 315 160 349
rect 194 315 210 349
rect 144 297 210 315
rect 64 249 130 263
rect 64 215 80 249
rect 114 215 130 249
rect 64 165 110 181
rect 164 177 210 297
rect 64 131 76 165
rect 64 97 110 131
rect 64 63 76 97
rect 64 17 110 63
rect 144 165 210 177
rect 144 131 160 165
rect 194 131 210 165
rect 144 97 210 131
rect 144 63 160 97
rect 194 63 210 97
rect 144 51 210 63
rect 0 -17 29 17
rect 63 -17 121 17
rect 155 -17 213 17
rect 247 -17 276 17
<< viali >>
rect 29 527 63 561
rect 121 527 155 561
rect 213 527 247 561
rect 29 -17 63 17
rect 121 -17 155 17
rect 213 -17 247 17
<< metal1 >>
rect 0 561 276 592
rect 0 527 29 561
rect 63 527 121 561
rect 155 527 213 561
rect 247 527 276 561
rect 0 496 276 527
rect 0 17 276 48
rect 0 -17 29 17
rect 63 -17 121 17
rect 155 -17 213 17
rect 247 -17 276 17
rect 0 -48 276 -17
<< labels >>
flabel locali s 164 289 198 323 0 FreeSans 340 0 0 0 Y
port 7 nsew
flabel locali s 164 221 198 255 0 FreeSans 340 0 0 0 Y
port 7 nsew
flabel locali s 72 221 106 255 0 FreeSans 340 0 0 0 A
port 6 nsew
flabel nwell s 29 527 63 561 0 FreeSans 200 0 0 0 VPB
port 2 nsew
flabel pwell s 29 -17 63 17 0 FreeSans 200 0 0 0 VNB
port 3 nsew
flabel metal1 s 29 -17 63 17 0 FreeSans 200 0 0 0 VGND
port 4 nsew
flabel metal1 s 29 527 63 561 0 FreeSans 200 0 0 0 VPWR
port 5 nsew
rlabel comment s 0 0 0 0 4 inv_1
<< properties >>
string FIXED_BBOX 0 0 276 544
string path 0.000 0.000 1.380 0.000 
<< end >>

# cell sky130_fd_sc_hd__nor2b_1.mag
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
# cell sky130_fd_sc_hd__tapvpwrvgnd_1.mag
magic
tech sky130A
magscale 1 2
<< nwell >>
rect -38 261 130 582
<< pwell >>
rect 3 38 89 195
<< psubdiff >>
rect 29 145 63 169
rect 29 64 63 111
<< nsubdiff >>
rect 29 456 63 480
rect 29 363 63 422
rect 29 305 63 329
<< psubdiffcont >>
rect 29 111 63 145
<< nsubdiffcont >>
rect 29 422 63 456
rect 29 329 63 363
<< locali >>
rect 0 527 29 561
rect 63 527 92 561
rect 17 456 75 527
rect 17 422 29 456
rect 63 422 75 456
rect 17 363 75 422
rect 17 329 29 363
rect 63 329 75 363
rect 17 294 75 329
rect 17 145 75 162
rect 17 111 29 145
rect 63 111 75 145
rect 17 17 75 111
rect 0 -17 29 17
rect 63 -17 92 17
<< viali >>
rect 29 527 63 561
rect 29 -17 63 17
<< metal1 >>
rect 0 561 92 592
rect 0 527 29 561
rect 63 527 92 561
rect 0 496 92 527
rect 0 17 92 48
rect 0 -17 29 17
rect 63 -17 92 17
rect 0 -48 92 -17
<< labels >>
flabel metal1 s 22 524 75 553 0 FreeSans 200 0 0 0 VPWR
port 2 nsew
flabel metal1 s 21 -18 72 20 0 FreeSans 200 0 0 0 VGND
port 3 nsew
rlabel comment s 0 0 0 0 4 tapvpwrvgnd_1
<< properties >>
string FIXED_BBOX 0 0 92 544
<< end >>

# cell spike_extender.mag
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
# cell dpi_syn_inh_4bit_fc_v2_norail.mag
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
